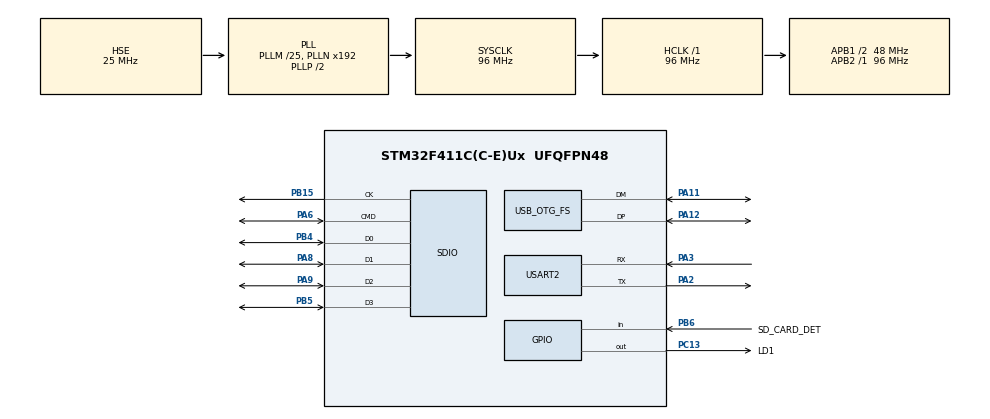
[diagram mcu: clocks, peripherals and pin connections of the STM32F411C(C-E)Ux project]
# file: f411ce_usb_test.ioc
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FATFS.BSP.number=1
FATFS._USE_LFN=1
FATFS0.BSP.STBoard=false
FATFS0.BSP.api=Unknown
FATFS0.BSP.i2caddr=0
FATFS0.BSP.instance=PB6
FATFS0.BSP.ip=GPIO
FATFS0.BSP.mode=Input
FATFS0.BSP.name=Detect_SDIO
FATFS0.BSP.solution=PB6
Mcu.Family=STM32F4
Mcu.Name=STM32F411C(C-E)Ux
Mcu.Package=UFQFPN48
NVIC.OTG_FS_IRQn=true\:0\:0\:false\:false\:true\:false\:true
NVIC.PriorityGroup=NVIC_PRIORITYGROUP_4
NVIC.SDIO_IRQn=true\:0\:0\:true\:false\:true\:true\:true
NVIC.TIM5_IRQn=true\:0\:0\:false\:false\:true\:true\:true
PA11.Mode=Device_Only
PA11.Signal=USB_OTG_FS_DM
PA12.Mode=Device_Only
PA12.Signal=USB_OTG_FS_DP
PA13.Mode=Serial_Wire
PA13.Signal=SYS_JTMS-SWDIO
PA14.Mode=Serial_Wire
PA14.Signal=SYS_JTCK-SWCLK
PA2.Mode=Asynchronous
PA2.Signal=USART2_TX
PA3.Mode=Asynchronous
PA3.Signal=USART2_RX
PA6.Mode=SD_4_bits_Wide_bus
PA6.Signal=SDIO_CMD
PA8.Mode=SD_4_bits_Wide_bus
PA8.Signal=SDIO_D1
PA9.Mode=SD_4_bits_Wide_bus
PA9.Signal=SDIO_D2
PB15.Mode=SD_4_bits_Wide_bus
PB15.Signal=SDIO_CK
PB4.Mode=SD_4_bits_Wide_bus
PB4.Signal=SDIO_D0
PB5.Mode=SD_4_bits_Wide_bus
PB5.Signal=SDIO_D3
PB6.GPIO_Label=SD_CARD_DET
PB6.Signal=GPIO_Input
PC13-ANTI_TAMP.GPIO_Label=LD1
PC13-ANTI_TAMP.Signal=GPIO_Output
PC14-OSC32_IN.Mode=LSE-External-Oscillator
PC14-OSC32_IN.Signal=RCC_OSC32_IN
PC15-OSC32_OUT.Mode=LSE-External-Oscillator
PC15-OSC32_OUT.Signal=RCC_OSC32_OUT
PH0\ -\ OSC_IN.Mode=HSE-External-Oscillator
PH0\ -\ OSC_IN.Signal=RCC_OSC_IN
PH1\ -\ OSC_OUT.Mode=HSE-External-Oscillator
PH1\ -\ OSC_OUT.Signal=RCC_OSC_OUT
ProjectManager.HeapSize=0x200
ProjectManager.StackSize=0x400
ProjectManager.TargetToolchain=STM32CubeIDE
RCC.48MHZClocksFreq_Value=48000000
RCC.AHBFreq_Value=96000000
RCC.APB1CLKDivider=RCC_HCLK_DIV2
RCC.APB1Freq_Value=48000000
RCC.APB1TimFreq_Value=96000000
RCC.APB2Freq_Value=96000000
RCC.APB2TimFreq_Value=96000000
RCC.CortexFreq_Value=96000000
RCC.HCLKFreq_Value=96000000
RCC.HSE_VALUE=25000000
RCC.HSI_VALUE=16000000
RCC.PLLM=25
RCC.SYSCLKFreq_VALUE=96000000
RCC.SYSCLKSource=RCC_SYSCLKSOURCE_PLLCLK
RCC.VCOOutputFreq_Value=192000000
SDIO.ClockDiv=16
TIM5.Period=10000-1
TIM5.Prescaler=9600-1
USART2.VirtualMode=VM_ASYNC
USB_DEVICE.CLASS_NAME_FS=MSC
USB_DEVICE.VirtualMode=Msc
USB_DEVICE.VirtualModeFS=Msc_FS
USB_OTG_FS.VirtualMode=Device_Only
VP_FATFS_VS_SDIO.Mode=SDIO
VP_TIM5_VS_ClockSourceINT.Mode=Internal
VP_USB_DEVICE_VS_USB_DEVICE_MSC_FS.Mode=MSC_FS
board=custom

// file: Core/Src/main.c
/* USER CODE BEGIN Header */
/**
  ******************************************************************************
  * @file           : main.c
  * @brief          : Main program body
  ******************************************************************************
  * @attention
  *
  * Copyright (c) 2022 STMicroelectronics.
  * All rights reserved.
  *
  * This software is licensed under terms that can be found in the LICENSE file
  * in the root directory of this software component.
  * If no LICENSE file comes with this software, it is provided AS-IS.
  *
  ******************************************************************************
  */
/* USER CODE END Header */
#include "main.h"
#include "fatfs.h"
#include "usb_device.h"

/* USER CODE BEGIN Includes */
#include "stdio.h"
/* USER CODE END Includes */

SD_HandleTypeDef hsd;

TIM_HandleTypeDef htim5;

UART_HandleTypeDef huart2;

/* USER CODE BEGIN PV */

#ifdef __GNUC__
#define PUTCHAR_PROTOTYPE_PUT int __io_putchar(int ch)
#define PUTCHAR_PROTOTYPE_GET int __io_getchar(int ch)
#else
#define PUTCHAR_PROTOTYPE_PUT int fputc(int ch, FILE *f)
#define PUTCHAR_PROTOTYPE_GET int fgetc(FILE *f)
#endif

PUTCHAR_PROTOTYPE_PUT
{
  if(ch == '\n')
  {
    ch = '\r';
    HAL_UART_Transmit(&huart2, (uint8_t*)&ch, 1, 1000);
    ch = '\n';
    HAL_UART_Transmit(&huart2, (uint8_t*)&ch, 1, 1000);
  }
  else
    HAL_UART_Transmit(&huart2, (uint8_t*)&ch, 1, 1000);
  return ch;
}

PUTCHAR_PROTOTYPE_GET
{
  uint8_t c;
  while( HAL_UART_Receive(&huart2, (uint8_t*)&c, 1, 1000) != HAL_OK);
  return c;
}

/* USER CODE END PV */

void SystemClock_Config(void);
static void MX_GPIO_Init(void);
static void MX_USART2_UART_Init(void);
static void MX_SDIO_SD_Init(void);
static void MX_TIM5_Init(void);

/* USER CODE BEGIN 0 */

HAL_SD_CardInfoTypeDef pCardInfo;

void DO_ASSERT()
{
  printf("HAL_NVIC_SystemReset after 3000 ms\n");

  HAL_Delay(3000);

  HAL_NVIC_SystemReset();
}

extern uint32_t usbd_rdblk_cnt;
extern uint32_t usbd_wtblk_cnt;

uint32_t usbd_rdblk_cnt_monitor;
uint32_t usbd_wtblk_cnt_monitor;

uint8_t tim5_trigged = 0;

void HAL_TIM_PeriodElapsedCallback(TIM_HandleTypeDef *htim)
{
  if(htim->Instance == htim5.Instance)
  {
    tim5_trigged = 1;

    usbd_rdblk_cnt_monitor = usbd_rdblk_cnt;
    usbd_wtblk_cnt_monitor = usbd_wtblk_cnt;
    usbd_rdblk_cnt = usbd_wtblk_cnt = 0;
  }
}

/* USER CODE END 0 */

int main(void)
{

  /* MCU Configuration--------------------------------------------------------*/

  /* Reset of all peripherals, Initializes the Flash interface and the Systick. */
  HAL_Init();

  /* Configure the system clock */
  SystemClock_Config();

  /* Initialize all configured peripherals */
  MX_GPIO_Init();
  MX_USART2_UART_Init();
  MX_SDIO_SD_Init();
  MX_FATFS_Init();
  MX_USB_DEVICE_Init();
  MX_TIM5_Init();

  /* Infinite loop */
  while (1)
  {

    /* USER CODE BEGIN 3 */

    if(tim5_trigged)
    {
      tim5_trigged = 0;

      HAL_GPIO_TogglePin(LD1_GPIO_Port, LD1_Pin);
    }

  }
  /* USER CODE END 3 */
}

void SystemClock_Config(void)
{
  RCC_OscInitTypeDef RCC_OscInitStruct = {0};
  RCC_ClkInitTypeDef RCC_ClkInitStruct = {0};

  /** Configure the main internal regulator output voltage
  */
  __HAL_RCC_PWR_CLK_ENABLE();
  __HAL_PWR_VOLTAGESCALING_CONFIG(PWR_REGULATOR_VOLTAGE_SCALE1);
  /** Initializes the RCC Oscillators according to the specified parameters
  * in the RCC_OscInitTypeDef structure.
  */
  RCC_OscInitStruct.OscillatorType = RCC_OSCILLATORTYPE_HSE;
  RCC_OscInitStruct.HSEState = RCC_HSE_ON;
  RCC_OscInitStruct.PLL.PLLState = RCC_PLL_ON;
  RCC_OscInitStruct.PLL.PLLSource = RCC_PLLSOURCE_HSE;
  RCC_OscInitStruct.PLL.PLLM = 25;
  RCC_OscInitStruct.PLL.PLLN = 192;
  RCC_OscInitStruct.PLL.PLLP = RCC_PLLP_DIV2;
  RCC_OscInitStruct.PLL.PLLQ = 4;
  if (HAL_RCC_OscConfig(&RCC_OscInitStruct) != HAL_OK)
  {
    Error_Handler();
  }
  /** Initializes the CPU, AHB and APB buses clocks
  */
  RCC_ClkInitStruct.ClockType = RCC_CLOCKTYPE_HCLK|RCC_CLOCKTYPE_SYSCLK
                              |RCC_CLOCKTYPE_PCLK1|RCC_CLOCKTYPE_PCLK2;
  RCC_ClkInitStruct.SYSCLKSource = RCC_SYSCLKSOURCE_PLLCLK;
  RCC_ClkInitStruct.AHBCLKDivider = RCC_SYSCLK_DIV1;
  RCC_ClkInitStruct.APB1CLKDivider = RCC_HCLK_DIV2;
  RCC_ClkInitStruct.APB2CLKDivider = RCC_HCLK_DIV1;

  if (HAL_RCC_ClockConfig(&RCC_ClkInitStruct, FLASH_LATENCY_3) != HAL_OK)
  {
    Error_Handler();
  }
}

static void MX_SDIO_SD_Init(void)
{

  hsd.Instance = SDIO;
  hsd.Init.ClockEdge = SDIO_CLOCK_EDGE_RISING;
  hsd.Init.ClockBypass = SDIO_CLOCK_BYPASS_DISABLE;
  hsd.Init.ClockPowerSave = SDIO_CLOCK_POWER_SAVE_DISABLE;
  hsd.Init.BusWide = SDIO_BUS_WIDE_1B;
  hsd.Init.HardwareFlowControl = SDIO_HARDWARE_FLOW_CONTROL_DISABLE;
  hsd.Init.ClockDiv = 16;

}

static void MX_TIM5_Init(void)
{

  TIM_ClockConfigTypeDef sClockSourceConfig = {0};
  TIM_MasterConfigTypeDef sMasterConfig = {0};

  htim5.Instance = TIM5;
  htim5.Init.Prescaler = 9600-1;
  htim5.Init.CounterMode = TIM_COUNTERMODE_UP;
  htim5.Init.Period = 10000-1;
  htim5.Init.ClockDivision = TIM_CLOCKDIVISION_DIV1;
  htim5.Init.AutoReloadPreload = TIM_AUTORELOAD_PRELOAD_DISABLE;
  if (HAL_TIM_Base_Init(&htim5) != HAL_OK)
  {
    Error_Handler();
  }
  sClockSourceConfig.ClockSource = TIM_CLOCKSOURCE_INTERNAL;
  if (HAL_TIM_ConfigClockSource(&htim5, &sClockSourceConfig) != HAL_OK)
  {
    Error_Handler();
  }
  sMasterConfig.MasterOutputTrigger = TIM_TRGO_RESET;
  sMasterConfig.MasterSlaveMode = TIM_MASTERSLAVEMODE_DISABLE;
  if (HAL_TIMEx_MasterConfigSynchronization(&htim5, &sMasterConfig) != HAL_OK)
  {
    Error_Handler();
  }
  /* USER CODE BEGIN TIM5_Init 2 */

  HAL_TIM_Base_Start_IT(&htim5);

  /* USER CODE END TIM5_Init 2 */

}

static void MX_USART2_UART_Init(void)
{

  huart2.Instance = USART2;
  huart2.Init.BaudRate = 115200;
  huart2.Init.WordLength = UART_WORDLENGTH_8B;
  huart2.Init.StopBits = UART_STOPBITS_1;
  huart2.Init.Parity = UART_PARITY_NONE;
  huart2.Init.Mode = UART_MODE_TX_RX;
  huart2.Init.HwFlowCtl = UART_HWCONTROL_NONE;
  huart2.Init.OverSampling = UART_OVERSAMPLING_16;
  if (HAL_UART_Init(&huart2) != HAL_OK)
  {
    Error_Handler();
  }
  /* USER CODE BEGIN USART2_Init 2 */

  printf("F411CE USB Demo Started\n");

  /* USER CODE END USART2_Init 2 */

}

static void MX_GPIO_Init(void)
{
  GPIO_InitTypeDef GPIO_InitStruct = {0};

  /* GPIO Ports Clock Enable */
  __HAL_RCC_GPIOC_CLK_ENABLE();
  __HAL_RCC_GPIOH_CLK_ENABLE();
  __HAL_RCC_GPIOA_CLK_ENABLE();
  __HAL_RCC_GPIOB_CLK_ENABLE();

  /*Configure GPIO pin Output Level */
  HAL_GPIO_WritePin(LD1_GPIO_Port, LD1_Pin, GPIO_PIN_RESET);

  /*Configure GPIO pin : LD1_Pin */
  GPIO_InitStruct.Pin = LD1_Pin;
  GPIO_InitStruct.Mode = GPIO_MODE_OUTPUT_PP;
  GPIO_InitStruct.Pull = GPIO_NOPULL;
  GPIO_InitStruct.Speed = GPIO_SPEED_FREQ_LOW;
  HAL_GPIO_Init(LD1_GPIO_Port, &GPIO_InitStruct);

  /*Configure GPIO pin : SD_CARD_DET_Pin */
  GPIO_InitStruct.Pin = SD_CARD_DET_Pin;
  GPIO_InitStruct.Mode = GPIO_MODE_INPUT;
  GPIO_InitStruct.Pull = GPIO_NOPULL;
  HAL_GPIO_Init(SD_CARD_DET_GPIO_Port, &GPIO_InitStruct);

}

void Error_Handler(void)
{
  __disable_irq();
  while (1)
  {
  }
}
